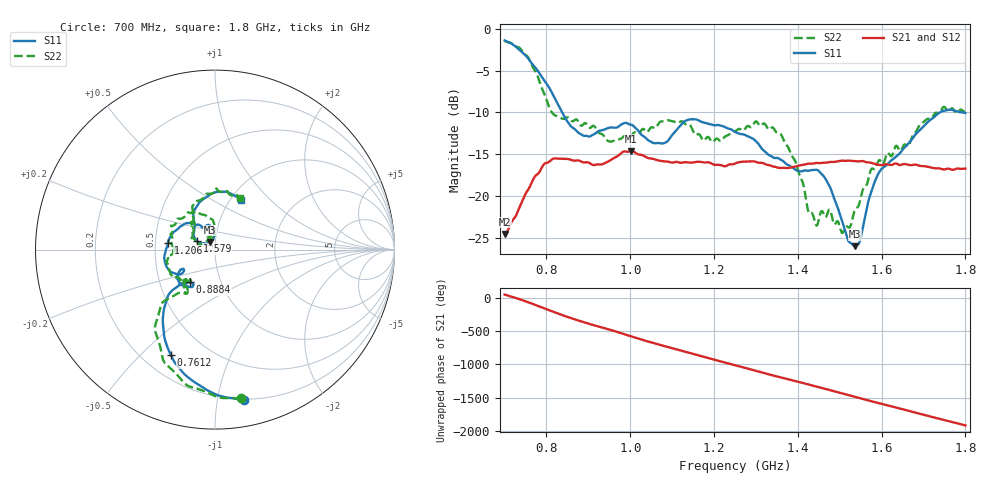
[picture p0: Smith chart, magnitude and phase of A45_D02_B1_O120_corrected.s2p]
! Created with skrf 1.9.0 (http://scikit-rf.org).
# Hz S RI R 50.0
!freq ReS11 ImS11 ReS21 ImS21 ReS12 ImS12 ReS22 ImS22
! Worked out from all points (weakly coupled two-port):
!   1601 points, 700 MHz to 1.8 GHz, reference 50 ohm
!   highest |S21| = -14.62 dB at 1.002 GHz (marker M1); lowest = -24.6 dB at 700.7 MHz (marker M2)
!   lowest |S11| = -26.0 dB at 1.536 GHz (marker M3), VSWR 1.11, Z = 47.3 + j4.04 ohm
!   |S11| at or under -10 dB: 837.1 MHz to 1.74 GHz (902.4 MHz wide, 70 % of centre); 1.79 GHz to end of sweep
!   |S22| runs from -24.5 to -1.5 dB; largest |S21 - S12| = 0.0034
!   S11 on the Smith chart (normalised r, x): 700 MHz: 0.20, -1.19; 761.2 MHz: 0.31, -0.62; 888.4 MHz: 0.71, -0.27; 1.206 GHz: 0.58, +0.05; 1.579 GHz: 0.81, +0.08; 1.8 GHz: 1.12, +0.69
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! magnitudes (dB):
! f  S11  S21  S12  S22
! 700 MHz  -1.4  -24.5  -24.3  -1.5
! 700.7 MHz  -1.4  -24.6  -24.2  -1.5
! 761.2 MHz  -3.9  -18.8  -18.7  -3.9
! 814.8 MHz  -7.8  -15.6  -15.6  -10.1
! 883.6 MHz  -12.7  -15.9  -15.8  -11.6
! 888.4 MHz  -12.8  -16.0  -15.9  -11.4
! 950.2 MHz  -11.8  -15.8  -15.8  -13.5
! 1.002 GHz  -11.5  -14.6  -14.7  -12.8
! 1.067 GHz  -13.7  -15.8  -15.7  -11.4
! 1.138 GHz  -10.9  -16.0  -16.0  -11.5
! 1.206 GHz  -11.5  -16.3  -16.3  -13.1
! 1.25 GHz  -12.4  -16.1  -16.1  -12.3
! 1.359 GHz  -15.7  -16.7  -16.6  -12.6
! 1.434 GHz  -16.9  -16.2  -16.1  -22.1
! 1.469 GHz  -18.2  -16.0  -16.0  -22.4
! 1.507 GHz  -23.2  -15.8  -15.8  -24.4
! 1.536 GHz  -26.0  -15.8  -15.9  -21.7
! 1.548 GHz  -25.4  -15.9  -15.8  -20.6
! 1.579 GHz  -19.0  -16.1  -16.1  -16.7
! 1.617 GHz  -16.1  -16.3  -16.2  -14.9
! 1.737 GHz  -10.1  -16.7  -16.8  -10.1
! 1.8 GHz  -10.1  -16.7  -16.7  -10.0
